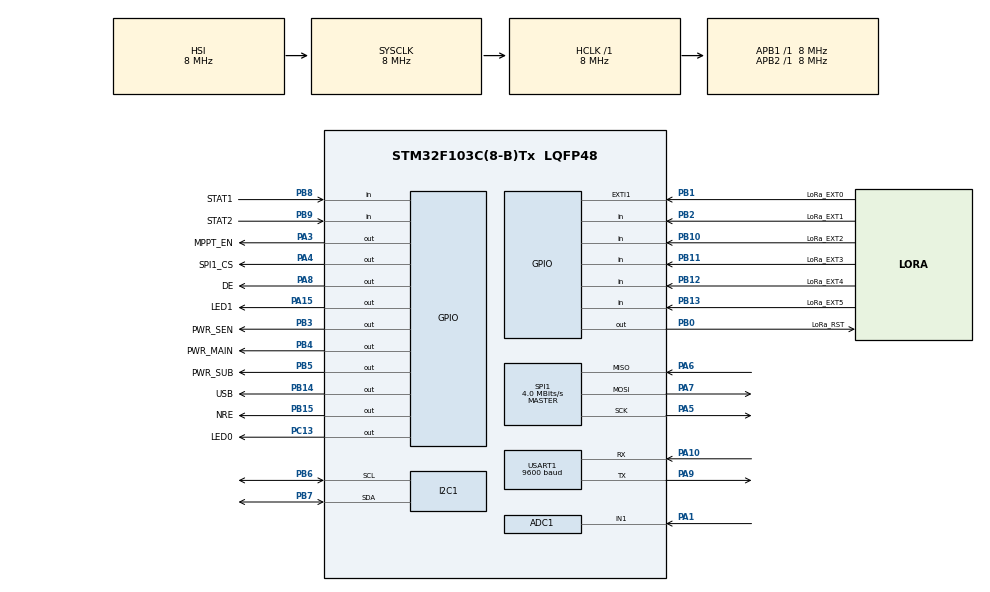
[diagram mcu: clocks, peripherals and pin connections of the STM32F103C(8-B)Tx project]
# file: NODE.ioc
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ADC1.Channel-0\#ChannelRegularConversion=ADC_CHANNEL_1
ADC1.NbrOfConversionFlag=1
ADC1.Rank-0\#ChannelRegularConversion=1
ADC1.SamplingTime-0\#ChannelRegularConversion=ADC_SAMPLETIME_239CYCLES_5
ADC1.master=1
Mcu.Family=STM32F1
Mcu.Name=STM32F103C(8-B)Tx
Mcu.Package=LQFP48
NVIC.EXTI1_IRQn=true\:0\:0\:false\:false\:true\:true\:true\:true
NVIC.I2C1_ER_IRQn=true\:0\:0\:false\:false\:true\:true\:true\:true
NVIC.I2C1_EV_IRQn=true\:0\:0\:false\:false\:true\:true\:true\:true
NVIC.PriorityGroup=NVIC_PRIORITYGROUP_4
NVIC.RTC_IRQn=true\:0\:0\:false\:false\:true\:true\:true\:true
PA0-WKUP.Mode=SYS_WakeUp0
PA0-WKUP.Signal=SYS_WKUP
PA1.Signal=ADCx_IN1
PA10.Mode=Asynchronous
PA10.Signal=USART1_RX
PA13.Mode=Serial_Wire
PA13.Signal=SYS_JTMS-SWDIO
PA14.Mode=Serial_Wire
PA14.Signal=SYS_JTCK-SWCLK
PA15.GPIO_Label=LED1
PA15.GPIO_PuPd=GPIO_NOPULL
PA15.GPIO_Speed=GPIO_SPEED_FREQ_LOW
PA15.Signal=GPIO_Output
PA3.GPIO_Label=MPPT_EN
PA3.GPIO_PuPd=GPIO_NOPULL
PA3.GPIO_Speed=GPIO_SPEED_FREQ_LOW
PA3.Signal=GPIO_Output
PA4.GPIO_Label=SPI1_CS
PA4.GPIO_PuPd=GPIO_PULLUP
PA4.GPIO_Speed=GPIO_SPEED_FREQ_HIGH
PA4.Signal=GPIO_Output
PA5.Mode=Full_Duplex_Master
PA5.Signal=SPI1_SCK
PA6.Mode=Full_Duplex_Master
PA6.Signal=SPI1_MISO
PA7.Mode=Full_Duplex_Master
PA7.Signal=SPI1_MOSI
PA8.GPIO_Label=DE
PA8.GPIO_PuPd=GPIO_NOPULL
PA8.GPIO_Speed=GPIO_SPEED_FREQ_LOW
PA8.Signal=GPIO_Output
PA9.Mode=Asynchronous
PA9.Signal=USART1_TX
PB0.GPIO_Label=LoRa_RST
PB0.GPIO_PuPd=GPIO_PULLDOWN
PB0.GPIO_Speed=GPIO_SPEED_FREQ_LOW
PB0.Signal=GPIO_Output
PB1.GPIO_Label=LoRa_EXT0
PB1.GPIO_ModeDefaultEXTI=GPIO_MODE_IT_RISING
PB1.GPIO_PuPd=GPIO_PULLDOWN
PB1.Signal=GPXTI1
PB10.GPIO_Label=LoRa_EXT2
PB10.Signal=GPIO_Input
PB11.GPIO_Label=LoRa_EXT3
PB11.Signal=GPIO_Input
PB12.GPIO_Label=LoRa_EXT4
PB12.Signal=GPIO_Input
PB13.GPIO_Label=LoRa_EXT5
PB13.Signal=GPIO_Input
PB14.GPIO_Label=USB
PB14.GPIO_PuPd=GPIO_NOPULL
PB14.GPIO_Speed=GPIO_SPEED_FREQ_LOW
PB14.Signal=GPIO_Output
PB15.GPIO_Label=NRE
PB15.GPIO_PuPd=GPIO_NOPULL
PB15.GPIO_Speed=GPIO_SPEED_FREQ_LOW
PB15.Signal=GPIO_Output
PB2.GPIO_Label=LoRa_EXT1
PB2.Signal=GPIO_Input
PB3.GPIO_Label=PWR_SEN
PB3.GPIO_PuPd=GPIO_NOPULL
PB3.Signal=GPIO_Output
PB4.GPIO_Label=PWR_MAIN
PB4.GPIO_PuPd=GPIO_NOPULL
PB4.GPIO_Speed=GPIO_SPEED_FREQ_LOW
PB4.Signal=GPIO_Output
PB5.GPIO_Label=PWR_SUB
PB5.GPIO_PuPd=GPIO_NOPULL
PB5.Signal=GPIO_Output
PB6.Mode=I2C
PB6.Signal=I2C1_SCL
PB7.Mode=I2C
PB7.Signal=I2C1_SDA
PB8.GPIO_Label=STAT1
PB8.Signal=GPIO_Input
PB9.GPIO_Label=STAT2
PB9.Signal=GPIO_Input
PC13-TAMPER-RTC.GPIO_Label=LED0
PC13-TAMPER-RTC.GPIO_PuPd=GPIO_NOPULL
PC13-TAMPER-RTC.GPIO_Speed=GPIO_SPEED_FREQ_LOW
PC13-TAMPER-RTC.Signal=GPIO_Output
ProjectManager.HeapSize=0x200
ProjectManager.StackSize=0x400
ProjectManager.TargetToolchain=Makefile
RCC.AHBFreq_Value=8000000
RCC.APB1Freq_Value=8000000
RCC.APB1TimFreq_Value=8000000
RCC.APB2Freq_Value=8000000
RCC.APB2TimFreq_Value=8000000
RCC.HCLKFreq_Value=8000000
RCC.HSE_VALUE=12000000
RCC.LSE_Timout=500
RCC.PLLMUL=RCC_PLL_MUL4
RCC.SYSCLKFreq_VALUE=8000000
RCC.USBFreq_Value=16000000
SH.ADCx_IN1.0=ADC1_IN1,IN1
SPI1.BaudRatePrescaler=SPI_BAUDRATEPRESCALER_2
SPI1.CalculateBaudRate=4.0 MBits/s
SPI1.Direction=SPI_DIRECTION_2LINES
SPI1.Mode=SPI_MODE_MASTER
SPI1.VirtualType=VM_MASTER
USART1.BaudRate=9600
USART1.VirtualMode=VM_ASYNC
VP_RTC_No_RTC_Output.Mode=RTC_OUT_NO
VP_RTC_VS_RTC_Activate.Mode=RTC_Enabled
VP_RTC_VS_RTC_Calendar.Mode=RTC_Calendar
board=custom

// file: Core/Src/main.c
/* USER CODE BEGIN Header */
/**
 ******************************************************************************
 * @file           : main.c
 * @brief          : Main program body
 ******************************************************************************
 * @attention
 *
 * Copyright (c) 2023 STMicroelectronics.
 * All rights reserved.
 *
 * This software is licensed under terms that can be found in the LICENSE file
 * in the root directory of this software component.
 * If no LICENSE file comes with this software, it is provided AS-IS.
 *
 ******************************************************************************
 */
/* USER CODE END Header */
#include "main.h"
#include "adc.h"
#include "i2c.h"
#include "rtc.h"
#include "spi.h"
#include "usart.h"
#include "gpio.h"

/* USER CODE BEGIN Includes */

#include "stdio.h"
#include "stdbool.h"
#include "stdlib.h"
#include "common.h"
#include "sx1278.h"
#include "string.h"
#include "flash.h"
/* USER CODE END Includes */

/* USER CODE BEGIN PTD */
typedef struct LoRa_Link_Struct
{
  uint16_t Node_ID;
  uint16_t Node_Status;
  uint16_t Node_Battery_Voltage;
  uint16_t Node_Period;
} Link_Struct_t;

typedef struct LoRa_Data_Struct
{
  Link_Struct_t Link;
  uint16_t Node_Soil_Temperature;
  uint16_t Node_Air_Temperature;
  uint16_t Node_Soil_Humidity;
  uint16_t Node_Air_Humidity;
  uint16_t Node_Salinity;
  uint16_t Node_Conductivity;
  uint16_t Node_pH;
  uint16_t Node_N;
  uint16_t Node_P;
  uint16_t Node_K;
} Data_Struct_t;

typedef struct LoRa_Packet_ID_0
{
  uint16_t Packet_ID;
  Link_Struct_t Payload;
} Link_Packet_t;

typedef struct LoRa_Packet_ID_1
{
  uint16_t Packet_ID;
  Data_Struct_t Payload;
} Data_Packet_t;

typedef struct LoRa_Packet_ID_2
{
  uint16_t Packet_ID;
  uint16_t Target_Node_ID;
  uint16_t Target_Node_Status;
  uint16_t Target_Node_Period;
  uint16_t Target_Node_Response;
} ResponsePacket_t;

typedef struct SoilData
{
  uint16_t rawTemperature;
  uint16_t rawHumidity;
  float Temperature;
  float Humidity;

  uint16_t Salinity;
  uint16_t Conductivity;

  uint16_t rawPH;
  float pH;

  uint16_t N;
  uint16_t P;
  uint16_t K;
} SoilData_t;

typedef struct
{
  float Temperature;
  float Humidity;
  uint8_t AHT10_RX_Data[6];
  uint32_t AHT10_ADC_Raw;
} AHT10_t;

typedef enum NodeStatus
{
  WAKEUP_MODE = 1U,
  LINK_MODE = 2U,
  NORMAL_MODE = 4U,
  RETRY_MODE = 8U,
  SHUTDOWN_MODE = 16U
} NodeStatus_t;

/* USER CODE END PTD */

/* USER CODE BEGIN PD */

// #define NODE_ID     (0x1303U)
// #define NODE_ID     (0x3112U)
// #define NODE_ID     (0x1010U)
#define NODE_ID     (0xCAACU)

#define TIMEOUT_MS                  (50U)
#define LINK_PACKET_ID              (0xAAAAU)
#define DATA_PACKET_ID              (0x5A5AU)
#define RESPONSE_PACKET_ID          (0x5555U)

#define SLEEPTIME_NORMAL_MODE_MIN   (3U)
#define SLEEPTIME_LINK_MODE_MIN     (1U)
#define SLEEPTIME_RETRY_MODE_SEC    (15U)

#define READ_SENSORS_DURATION_MS    (4500U)

#define WAIT_RESPONSE_DURATION_MS   (2000U)

#define NODE_WAKEUP_BIT_SHIFT       (0U)
#define NODE_WAKEUP_BIT             (1U << NODE_WAKEUP_BIT_SHIFT)
#define NODE_LINK_MODE_BIT_SHIFT    (1U)
#define NODE_LINK_MODE_BIT          (1U << NODE_LINK_MODE_BIT_SHIFT)
#define NODE_NORMAL_MODE_BIT_SHIFT  (2U)
#define NODE_NORMAL_MODE_BIT        (1U << NODE_NORMAL_MODE_BIT_SHIFT)
#define NODE_RETRY_MODE_BIT_SHIFT   (3U)
#define NODE_RETRY_MODE_BIT         (1U << NODE_RETRY_MODE_BIT_SHIFT)

#define NODE_SHUTDOWN_MODE_BIT_SHIFT   (4U)
#define NODE_SHUTDOWN_MODE_BIT         (1U << NODE_RETRY_MODE_BIT_SHIFT)

#define LINK_ACCEPT   (0xAAU)
#define LINK_REJECT   (0x55U)

#define LINK_CARRYON  (0x00U)
#define LINK_DISMISS  (0xFFU)

#define LINK_ACK      (0xABU)
#define LINK_NACK     (0xBAU)

#define AHT10_ADDRESS_1 (0x38 << 1) // 0b1110000; Adress[7-bit]Wite/Read[1-bit]
#define AHT10_ADDRESS_2 (0x39 << 1) // 0b1110000; Adress[7-bit]Wite/Read[1-bit]

#define SAVE_ADDR     (0x08013030U)

/* USER CODE END PD */

void SystemClock_Config(void);
/* USER CODE BEGIN PFP */

bool readSoilSensor(void);
bool readAirSensor(void);
void readADC(void);

uint16_t CRC16(unsigned char *buf, int len);

void goingDark(void);

void Link_Mode_Handle(void);
void Normal_Mode_Handle(void);
void Retry_Mode_Handle(void);

void Response_Handle(void);

/* USER CODE END PFP */

/* USER CODE BEGIN 0 */

static SoilData_t mySoil;
static AHT10_t myAir;
static NodeStatus_t myStatus;
static uint32_t backupStorage = 0U;
static uint8_t payload[100] = {0};
static volatile bool is_LoRa_EXTI = false;
static volatile bool is_All_Power_OFF = true;
static uint8_t array2store[32] = {0};
static volatile uint8_t nTry = 0;

/* USER CODE END 0 */

int main(void)
{

  /* MCU Configuration--------------------------------------------------------*/

  /* Reset of all peripherals, Initializes the Flash interface and the Systick. */
  HAL_Init();

  /* Configure the system clock */
  SystemClock_Config();

  /* Initialize all configured peripherals */
  MX_GPIO_Init();
  // MX_ADC1_Init();
  // MX_I2C1_Init();
  // MX_SPI1_Init();
  // MX_USART1_UART_Init();
  MX_RTC_Init();
  /* USER CODE BEGIN 2 */

  HAL_GPIO_WritePin(PWR_MAIN_GPIO_Port, PWR_MAIN_Pin, GPIO_PIN_SET);
  HAL_GPIO_WritePin(LED0_GPIO_Port, LED0_Pin, GPIO_PIN_SET);
  HAL_GPIO_WritePin(LED1_GPIO_Port, LED1_Pin, GPIO_PIN_SET);

  myStatus = HAL_RTCEx_BKUPRead(&hrtc, RTC_BKP_DR2);

  // myStatus = NORMAL_MODE;
  // myStatus = RETRY_MODE;

  if (myStatus == 0U)
  {
    HAL_RTCEx_BKUPWrite(&hrtc, RTC_BKP_DR3, SLEEPTIME_NORMAL_MODE_MIN * 60);
    myStatus = LINK_MODE;
    // HAL_RTCEx_BKUPWrite(&hrtc, RTC_BKP_DR4, 0U);
    is_All_Power_OFF = false;
    // HAL_Delay(20000);
  }

  if ((myStatus & LINK_MODE) != 0U)
  {
    Link_Mode_Handle();
  }
  else if ((myStatus & NORMAL_MODE) != 0U)
  {
    Normal_Mode_Handle();
  }
  else if ((myStatus & RETRY_MODE) != 0U)
  {
    Retry_Mode_Handle();
  }

  if ((myStatus & SHUTDOWN_MODE) != 0U)
  {
    HAL_GPIO_WritePin(PWR_MAIN_GPIO_Port, PWR_MAIN_Pin, GPIO_PIN_RESET);
    HAL_GPIO_WritePin(PWR_SUB_GPIO_Port, PWR_SUB_Pin, GPIO_PIN_SET);
    HAL_GPIO_WritePin(LED0_GPIO_Port, LED0_Pin, GPIO_PIN_RESET);
    HAL_GPIO_WritePin(LED1_GPIO_Port, LED1_Pin, GPIO_PIN_RESET);
    MX_GPIO_Init();
    MX_ADC1_Init();
    MX_I2C1_Init();
    MX_SPI1_Init();
    MX_USART1_UART_Init();
    MX_RTC_Init();
    myStatus = WAKEUP_MODE;
    while (HAL_RTCEx_BKUPRead(&hrtc, RTC_BKP_DR2) != myStatus)  HAL_RTCEx_BKUPWrite(&hrtc, RTC_BKP_DR2, myStatus);
    while (1);
  }

  while (HAL_RTCEx_BKUPRead(&hrtc, RTC_BKP_DR2) != myStatus)  HAL_RTCEx_BKUPWrite(&hrtc, RTC_BKP_DR2, myStatus);

  HAL_GPIO_TogglePin(LED1_GPIO_Port, LED1_Pin);
  HAL_GPIO_TogglePin(LED0_GPIO_Port, LED0_Pin);
  HAL_Delay(100);
  HAL_GPIO_TogglePin(LED1_GPIO_Port, LED1_Pin);
  HAL_GPIO_TogglePin(LED0_GPIO_Port, LED0_Pin);

  // mark = HAL_RTCEx_BKUPRead(&hrtc, RTC_BKP_DR4);
  // if (mark < 2U)  { is_All_Power_OFF = false; mark++; HAL_RTCEx_BKUPWrite(&hrtc, RTC_BKP_DR4, mark); }
  // else { is_All_Power_OFF = true; }

  if (is_All_Power_OFF == true)   HAL_GPIO_WritePin(PWR_MAIN_GPIO_Port, PWR_MAIN_Pin, GPIO_PIN_RESET);
  else                            {HAL_GPIO_WritePin(PWR_MAIN_GPIO_Port, PWR_MAIN_Pin, GPIO_PIN_SET); while(1);}

  goingDark();

  /* USER CODE END 2 */

  /* Infinite loop */
  while (1)
  {

  }
}

void SystemClock_Config(void)
{
  RCC_OscInitTypeDef RCC_OscInitStruct = {0};
  RCC_ClkInitTypeDef RCC_ClkInitStruct = {0};
  RCC_PeriphCLKInitTypeDef PeriphClkInit = {0};

  /** Initializes the RCC Oscillators according to the specified parameters
  * in the RCC_OscInitTypeDef structure.
  */
  RCC_OscInitStruct.OscillatorType = RCC_OSCILLATORTYPE_HSI|RCC_OSCILLATORTYPE_LSI;
  RCC_OscInitStruct.HSIState = RCC_HSI_ON;
  RCC_OscInitStruct.HSICalibrationValue = RCC_HSICALIBRATION_DEFAULT;
  RCC_OscInitStruct.LSIState = RCC_LSI_ON;
  RCC_OscInitStruct.PLL.PLLState = RCC_PLL_NONE;
  if (HAL_RCC_OscConfig(&RCC_OscInitStruct) != HAL_OK)
  {
    Error_Handler();
  }

  /** Initializes the CPU, AHB and APB buses clocks
  */
  RCC_ClkInitStruct.ClockType = RCC_CLOCKTYPE_HCLK|RCC_CLOCKTYPE_SYSCLK
                              |RCC_CLOCKTYPE_PCLK1|RCC_CLOCKTYPE_PCLK2;
  RCC_ClkInitStruct.SYSCLKSource = RCC_SYSCLKSOURCE_HSI;
  RCC_ClkInitStruct.AHBCLKDivider = RCC_SYSCLK_DIV1;
  RCC_ClkInitStruct.APB1CLKDivider = RCC_HCLK_DIV1;
  RCC_ClkInitStruct.APB2CLKDivider = RCC_HCLK_DIV1;

  if (HAL_RCC_ClockConfig(&RCC_ClkInitStruct, FLASH_LATENCY_0) != HAL_OK)
  {
    Error_Handler();
  }
  PeriphClkInit.PeriphClockSelection = RCC_PERIPHCLK_RTC|RCC_PERIPHCLK_ADC;
  PeriphClkInit.RTCClockSelection = RCC_RTCCLKSOURCE_LSI;
  PeriphClkInit.AdcClockSelection = RCC_ADCPCLK2_DIV2;
  if (HAL_RCCEx_PeriphCLKConfig(&PeriphClkInit) != HAL_OK)
  {
    Error_Handler();
  }
}

/* USER CODE BEGIN 4 */

uint16_t CRC16(unsigned char *buf, int len)
{
  uint16_t crc = 0xFFFF;
  for (int pos = 0; pos < len; pos++)
  {
    // XOR byte into least sig. byte of crc
    crc ^= (unsigned int)buf[pos];

    for (int i = 8; i != 0; i--)
    {
      // Loop over each bit
      if ((crc & 0x0001) != 0)
      {
        // If the LSB is set => Shift right and XOR 0xA001
        crc >>= 1;
        crc ^= 0xA001;
      }
      else
      {
        // Else LSB is not set => Just shift right
        crc >>= 1;
      }
    }
  }

  return crc;
}

void readADC(void)
{
  MX_ADC1_Init();
  HAL_Delay(100);
  for (uint8_t i = 0; i < 20; i++)
  {
    HAL_ADC_Start(&hadc1);
    HAL_ADC_PollForConversion(&hadc1, 50);
    backupStorage += HAL_ADC_GetValue(&hadc1);
  }
  backupStorage /= 20;
  HAL_RTCEx_BKUPWrite(&hrtc, RTC_BKP_DR1, backupStorage);
  HAL_ADC_Stop(&hadc1);
  HAL_ADC_DeInit(&hadc1);
}

bool readSoilSensor(void)
{
  static uint8_t txbuffer[10] = {0x01, 0x03, 0x00, 0x00, 0x00, 0x08, 0x44, 0x0C};
  static uint8_t rxbuffer[25];

  HAL_GPIO_WritePin(DE_GPIO_Port, DE_Pin, GPIO_PIN_SET);
  HAL_GPIO_WritePin(NRE_GPIO_Port, NRE_Pin, GPIO_PIN_SET);

  HAL_UART_Transmit(&huart1, txbuffer, 8, 10);

  HAL_GPIO_WritePin(DE_GPIO_Port, DE_Pin, GPIO_PIN_RESET);
  HAL_GPIO_WritePin(NRE_GPIO_Port, NRE_Pin, GPIO_PIN_RESET);

  HAL_UART_Receive(&huart1, rxbuffer, 21, 500);

  mySoil.rawTemperature = (uint16_t)((rxbuffer[3] << 8U) | (uint16_t)rxbuffer[4]);
  mySoil.Temperature = (float)((float)mySoil.rawTemperature / 10.0);
  mySoil.rawHumidity = (uint16_t)((rxbuffer[5] << 8U) | (uint16_t)rxbuffer[6]);
  mySoil.Humidity = (float)((float)mySoil.rawHumidity / 10.0);
  mySoil.Salinity = (uint16_t)((rxbuffer[7] << 8U) | (uint16_t)rxbuffer[8]);
  mySoil.Conductivity = (uint16_t)((rxbuffer[9] << 8U) | (uint16_t)rxbuffer[10]);
  mySoil.rawPH = (uint16_t)((rxbuffer[11] << 8U) | (uint16_t)rxbuffer[12]);
  if (mySoil.rawPH == 0)  mySoil.rawPH = get_random_value(backupStorage, 60, 75);
  mySoil.pH = (float)((float)mySoil.rawPH / 100.0);
  mySoil.N = (uint16_t)((rxbuffer[13] << 8U) | (uint16_t)rxbuffer[14]);
  mySoil.P = (uint16_t)((rxbuffer[15] << 8U) | (uint16_t)rxbuffer[16]);
  mySoil.K = (uint16_t)((rxbuffer[17] << 8U) | (uint16_t)rxbuffer[18]);

  uint16_t calculatedCRC = CRC16(rxbuffer, 19);

  if (((uint8_t)(calculatedCRC & 0x00FF) != (uint8_t)rxbuffer[19]) || ((uint8_t)((uint16_t)(calculatedCRC & 0xFF00) >> 8) != (uint8_t)rxbuffer[20]))
  {
    memset(&mySoil, '\0', sizeof(mySoil));
    return false;
  }

  memset(rxbuffer, '\0', sizeof(rxbuffer));

  HAL_GPIO_WritePin(DE_GPIO_Port, DE_Pin, GPIO_PIN_RESET);
  HAL_GPIO_WritePin(NRE_GPIO_Port, NRE_Pin, GPIO_PIN_SET);

  return true;
}

bool readAirSensor(void)
{
  static uint8_t AHT10_TmpHum_Cmd[3] = {0xAC, 0x33, 0x00};
  HAL_I2C_Master_Transmit(&hi2c1, AHT10_ADDRESS_1, (uint8_t*)AHT10_TmpHum_Cmd, 3, 100);
  HAL_Delay(500);
  HAL_I2C_Master_Receive(&hi2c1, AHT10_ADDRESS_1, (uint8_t*)myAir.AHT10_RX_Data, 6, 200);
  // HAL_Delay(200);
  if(~myAir.AHT10_RX_Data[0] & 0x80)
  {
    /* Convert to Temperature in °C */
    myAir.AHT10_ADC_Raw = (((uint32_t)myAir.AHT10_RX_Data[3] & 15) << 16) | ((uint32_t)myAir.AHT10_RX_Data[4] << 8) | myAir.AHT10_RX_Data[5];
    myAir.Temperature = (float)(myAir.AHT10_ADC_Raw * 200.00 / 1048576.00) - 50.00;

    /* Convert to Relative Humidity in % */
    myAir.AHT10_ADC_Raw = ((uint32_t)myAir.AHT10_RX_Data[1] << 12) | ((uint32_t)myAir.AHT10_RX_Data[2] << 4) | (myAir.AHT10_RX_Data[3] >> 4);
    myAir.Humidity = (float)(myAir.AHT10_ADC_Raw*100.00/1048576.00);
    return true;
  }
  return false;
}

void goingDark(void)
{
  /* Enable WUPIN PA0 */
  SET_BIT(PWR->CSR, PWR_CSR_EWUP);

  /* Set RTC Alarm for 300s */
  RTC_TimeTypeDef timeNow;
  RTC_AlarmTypeDef timeAlarm;
  HAL_RTC_GetTime(&hrtc, &timeNow, RTC_FORMAT_BCD);
  timeAlarm.Alarm = RTC_ALARM_A;
  timeAlarm.AlarmTime = timeNow;
  if (myStatus == NORMAL_MODE)
  {
    timeAlarm.AlarmTime.Seconds += HAL_RTCEx_BKUPRead(&hrtc, RTC_BKP_DR3);
  }
  else if (myStatus == LINK_MODE)
  {
    timeAlarm.AlarmTime.Seconds += SLEEPTIME_LINK_MODE_MIN * 60;
  }
  else if (myStatus == RETRY_MODE)
  {
    timeAlarm.AlarmTime.Seconds += SLEEPTIME_RETRY_MODE_SEC;
  }
  __HAL_RTC_ALARM_CLEAR_FLAG(&hrtc, RTC_FLAG_ALRAF);
  HAL_RTC_SetAlarm_IT(&hrtc, &timeAlarm, RTC_FORMAT_BCD);

  /* Set SLEEPDEEP bit of Cortex System Control Register */
  SET_BIT(SCB->SCR, ((uint32_t)SCB_SCR_SLEEPDEEP_Msk));

  /* Select Standby mode */
  SET_BIT(PWR->CR, PWR_CR_PDDS);

  /* Clear WUF bit in Power Control/Status register */
  SET_BIT(PWR->CR, PWR_CR_CWUF);

  /* Clear SBF bit in Power Control/Status register */
  SET_BIT(PWR->CR, PWR_CR_CSBF);

  (void)PWR->CR;
  (void)PWR->CSR;

  // Disable debug, trace and IWDG in low-power modes
  DBGMCU->CR = (uint32_t)0x00;

#if DEBUG == 1
  logPC("Bravo 6\nGoing Dark\n");
#endif /* DEBUG == 1 */

  for (;;)
  {
    __DSB();
    __WFI();
  }
}

bool is_OK_2_Talk(void)
{
  sx1278_standby();
  uint32_t checkTimeout = HAL_GetTick();
  uint8_t irq = sx1278_read_reg(REG_IRQ_FLAGS);
  sx1278_write_reg(REG_IRQ_FLAGS, irq);     //reset irq
  is_LoRa_EXTI = false;
  sx1278_cad();
  while ((is_LoRa_EXTI == false) && ((HAL_GetTick() - checkTimeout) < TIMEOUT_MS));
  if (is_LoRa_EXTI == false)  return false;
  irq = sx1278_read_reg(REG_IRQ_FLAGS);
  sx1278_write_reg(REG_IRQ_FLAGS, irq);     //reset irq
  sx1278_standby();
  if (((irq & 0x01U) != 0U) && ((irq & 0x04U) != 0U))
  {
    return false;
  }
  else if (((irq & 0x01U) == 0U) && ((irq & 0x04U) != 0U))
  {
    return true;
  }
  return false;
}

void Link_Mode_Handle(void)
{
  readADC();

  HAL_GPIO_WritePin(PWR_SUB_GPIO_Port, PWR_SUB_Pin, GPIO_PIN_SET);
  HAL_GPIO_WritePin(LED0_GPIO_Port, LED0_Pin, GPIO_PIN_RESET);

  MX_SPI1_Init();
  HAL_Delay(100);
  sx1278_init();

  Link_Packet_t LinkReq;
  LinkReq.Packet_ID = LINK_PACKET_ID;
  LinkReq.Payload.Node_ID = NODE_ID;
  LinkReq.Payload.Node_Status = myStatus;
  LinkReq.Payload.Node_Battery_Voltage = (uint16_t)((double)backupStorage  * 2847.868f  * 3.38f / 4095.0f) - 70U;
  LinkReq.Payload.Node_Period = (uint16_t)(HAL_RTCEx_BKUPRead(&hrtc, RTC_BKP_DR3));
  memcpy((uint8_t*)&payload, (uint8_t*)&LinkReq, sizeof(Link_Packet_t));

  nTry = 0;
  while ((is_OK_2_Talk() == false) && (nTry < 10))
  {
    nTry++;
    HAL_Delay(get_random_value(backupStorage, 50, 200));
  }
  if (nTry == 10)
  {
    myStatus = LINK_MODE;
    HAL_SPI_DeInit(&hspi1);
    HAL_GPIO_WritePin(PWR_SUB_GPIO_Port, PWR_SUB_Pin, GPIO_PIN_RESET);
    HAL_GPIO_WritePin(LED0_GPIO_Port, LED0_Pin, GPIO_PIN_SET);
    return;
  }

  sx1278_send_data((uint8_t *)&payload, sizeof(Link_Packet_t));

  Response_Handle();

  sx1278_sleep();
  HAL_SPI_DeInit(&hspi1);

  HAL_GPIO_WritePin(PWR_SUB_GPIO_Port, PWR_SUB_Pin, GPIO_PIN_RESET);
  HAL_GPIO_WritePin(LED0_GPIO_Port, LED0_Pin, GPIO_PIN_SET);
}

void Normal_Mode_Handle(void)
{
  readADC();

  HAL_GPIO_WritePin(PWR_SUB_GPIO_Port, PWR_SUB_Pin, GPIO_PIN_SET);
  HAL_GPIO_WritePin(LED0_GPIO_Port, LED0_Pin, GPIO_PIN_RESET);

  HAL_GPIO_WritePin(PWR_SEN_GPIO_Port, PWR_SEN_Pin, GPIO_PIN_SET);
  HAL_GPIO_WritePin(LED1_GPIO_Port, LED1_Pin, GPIO_PIN_RESET);

  HAL_Delay(READ_SENSORS_DURATION_MS);
  MX_USART1_UART_Init();
  HAL_Delay(100);
  readSoilSensor();
  HAL_GPIO_WritePin(PWR_SEN_GPIO_Port, PWR_SEN_Pin, GPIO_PIN_RESET);
  HAL_GPIO_WritePin(LED1_GPIO_Port, LED1_Pin, GPIO_PIN_SET);
  HAL_UART_DeInit(&huart1);

  MX_I2C1_Init();
  HAL_Delay(100);
  readAirSensor();
  HAL_I2C_DeInit(&hi2c1);

  MX_SPI1_Init();
  HAL_Delay(100);
  sx1278_init();

  Data_Packet_t data_packet;
  data_packet.Packet_ID = DATA_PACKET_ID;
  data_packet.Payload.Link.Node_ID = NODE_ID;
  data_packet.Payload.Link.Node_Status = myStatus;
  data_packet.Payload.Link.Node_Battery_Voltage = (uint16_t)((double)backupStorage  * 2847.868f  * 3.38f / 4095.0f) - 240U;
  data_packet.Payload.Link.Node_Period = (uint16_t)(HAL_RTCEx_BKUPRead(&hrtc, RTC_BKP_DR3));
  data_packet.Payload.Node_Soil_Temperature = mySoil.rawTemperature;
  data_packet.Payload.Node_Air_Temperature = (uint16_t)(myAir.Temperature * 10);
  data_packet.Payload.Node_Soil_Humidity = mySoil.rawHumidity;
  data_packet.Payload.Node_Air_Humidity = (uint16_t)(myAir.Humidity * 10);
  data_packet.Payload.Node_Salinity = mySoil.Salinity;
  data_packet.Payload.Node_Conductivity = mySoil.Conductivity;
  data_packet.Payload.Node_pH = mySoil.rawPH;
  data_packet.Payload.Node_N = mySoil.N;
  data_packet.Payload.Node_P = mySoil.P;
  data_packet.Payload.Node_K = mySoil.K;
  memset(payload, '\0', sizeof(payload));
  memcpy((uint8_t *)payload, (uint8_t *)&data_packet, sizeof(Data_Packet_t));

  nTry = 0;
  while ((is_OK_2_Talk() == false) && (nTry < 10))
  {
    nTry++;
    HAL_Delay(100);
  }
  if (nTry == 10)
  {
    myStatus = RETRY_MODE;
    HAL_SPI_DeInit(&hspi1);
    HAL_GPIO_WritePin(PWR_SUB_GPIO_Port, PWR_SUB_Pin, GPIO_PIN_RESET);
    HAL_GPIO_WritePin(LED0_GPIO_Port, LED0_Pin, GPIO_PIN_SET);
    return;
  }

  sx1278_send_data(payload, sizeof(Data_Packet_t));

  Response_Handle();

  if (myStatus == RETRY_MODE)
  {
    memset(array2store, '\0', sizeof(array2store));
    memcpy((uint8_t *)&array2store, (uint8_t *)&data_packet, sizeof(Data_Packet_t));
    Flash_Write_Data(SAVE_ADDR, (uint32_t*)&array2store, 8U);
    HAL_Delay(300);
  }

  sx1278_sleep();
  HAL_SPI_DeInit(&hspi1);

  HAL_GPIO_WritePin(PWR_SUB_GPIO_Port, PWR_SUB_Pin, GPIO_PIN_RESET);
  HAL_GPIO_WritePin(LED0_GPIO_Port, LED0_Pin, GPIO_PIN_SET);
}

void Retry_Mode_Handle(void)
{
  Flash_Read_Data(SAVE_ADDR, (uint32_t *)&array2store, sizeof(array2store));
  array2store[4] = RETRY_MODE;
  memcpy((uint8_t *)payload, (uint8_t *)&array2store, sizeof(Data_Packet_t));

  HAL_GPIO_WritePin(PWR_SUB_GPIO_Port, PWR_SUB_Pin, GPIO_PIN_SET);
  HAL_GPIO_WritePin(LED0_GPIO_Port, LED0_Pin, GPIO_PIN_RESET);

  MX_SPI1_Init();
  HAL_Delay(100);
  sx1278_init();

  nTry = 0;
  while ((is_OK_2_Talk() == false) && (nTry < 10))
  {
    nTry++;
    HAL_Delay(get_random_value(backupStorage, 50, 200));
  }
  if (nTry == 10)
  {
    myStatus = RETRY_MODE;
    HAL_SPI_DeInit(&hspi1);
    HAL_GPIO_WritePin(PWR_SUB_GPIO_Port, PWR_SUB_Pin, GPIO_PIN_RESET);
    HAL_GPIO_WritePin(LED0_GPIO_Port, LED0_Pin, GPIO_PIN_SET);
    return;
  }

  sx1278_send_data(payload, sizeof(Data_Packet_t));

  Response_Handle();

  sx1278_sleep();
  HAL_SPI_DeInit(&hspi1);

  HAL_GPIO_WritePin(PWR_SUB_GPIO_Port, PWR_SUB_Pin, GPIO_PIN_RESET);
  HAL_GPIO_WritePin(LED0_GPIO_Port, LED0_Pin, GPIO_PIN_SET);
}

void Response_Handle(void)
{
  static ResponsePacket_t resp;
  static uint8_t data[100] = {0};
  static uint32_t nByteRx = 0;
  static int rssi = -1;
  static float snr = -1;

  is_LoRa_EXTI = false;
  sx1278_start_recv_data();

  uint32_t timeOut = HAL_GetTick();
  while ((HAL_GetTick() - timeOut) < 5000U)
  {
    if (is_LoRa_EXTI == true)
    {
      if (sx1278_recv_data((uint8_t *)data, &nByteRx, &rssi, &snr, false) == SX1278_OK)
      {
        if (nByteRx == sizeof(ResponsePacket_t))  memcpy(&resp, &data, sizeof(ResponsePacket_t));
        else
        {
          is_LoRa_EXTI = false;
          sx1278_set_irq(0x00);
          sx1278_write_reg(REG_IRQ_FLAGS, sx1278_read_reg(REG_IRQ_FLAGS));
          continue;
        }

        if ((resp.Packet_ID != RESPONSE_PACKET_ID) || (resp.Target_Node_ID != NODE_ID))
        {
          // this is not what I want OR this is not for me
          is_LoRa_EXTI = false;
          sx1278_start_recv_data();
          continue;
        }
        else
        {
          // Yep ok this is my packet and ID
          if (myStatus == LINK_MODE)
          {
            if ((resp.Target_Node_Response & 0x00FF) != LINK_ACK) {myStatus = LINK_MODE; return;}
            if      (((resp.Target_Node_Response >> 8) & 0x00FF) == LINK_ACCEPT)    myStatus = NORMAL_MODE;
            else if (((resp.Target_Node_Response >> 8) & 0x00FF) == LINK_REJECT)    myStatus = (uint8_t)resp.Target_Node_Status;
          }
          else if (myStatus == NORMAL_MODE)
          {
            if ((resp.Target_Node_Response & 0x00FF) != LINK_ACK) {myStatus = RETRY_MODE; return;}
            if      (((resp.Target_Node_Response >> 8) & 0x00FF) == LINK_CARRYON)   myStatus = (uint8_t)resp.Target_Node_Status;
            else if (((resp.Target_Node_Response >> 8) & 0x00FF) == LINK_DISMISS)   myStatus = LINK_MODE;
          }
          else if (myStatus == RETRY_MODE)
          {
            if      ((resp.Target_Node_Response & 0x00FF) != LINK_ACK) {myStatus = RETRY_MODE;  return;}
            else if ((resp.Target_Node_Response & 0x00FF) == LINK_ACK) {myStatus = NORMAL_MODE;}
            if      (((resp.Target_Node_Response >> 8) & 0x00FF) == LINK_CARRYON)   myStatus = (uint8_t)resp.Target_Node_Status;
            else if (((resp.Target_Node_Response >> 8) & 0x00FF) == LINK_DISMISS)   myStatus = LINK_MODE;
          }
          HAL_RTCEx_BKUPWrite(&hrtc, RTC_BKP_DR3, resp.Target_Node_Period);
          return;
        }
      }
      else
      {
        is_LoRa_EXTI = false;
        sx1278_set_irq(0x00);
        sx1278_write_reg(REG_IRQ_FLAGS, sx1278_read_reg(REG_IRQ_FLAGS));
        continue;
      }
    }
  }

  if (myStatus == LINK_MODE)
  {
    myStatus = LINK_MODE;
  }
  else if (myStatus == NORMAL_MODE)
  {
    myStatus = RETRY_MODE;
  }
  else if (myStatus == RETRY_MODE)
  {
    myStatus = RETRY_MODE;
  }
}

void HAL_GPIO_EXTI_Callback(uint16_t GPIO_Pin)
{
  if ((GPIO_Pin == LoRa_EXT0_Pin) && (HAL_GPIO_ReadPin(LoRa_EXT0_GPIO_Port, LoRa_EXT0_Pin) == GPIO_PIN_SET) && (is_LoRa_EXTI == false))
  {
    is_LoRa_EXTI = true;
  }
}

void HAL_RTCEx_RTCEventCallback(RTC_HandleTypeDef *hrtc)
{
  HAL_NVIC_SystemReset();
}

/* USER CODE END 4 */

void Error_Handler(void)
{
  __disable_irq();
  while (1)
  {
  }
}
